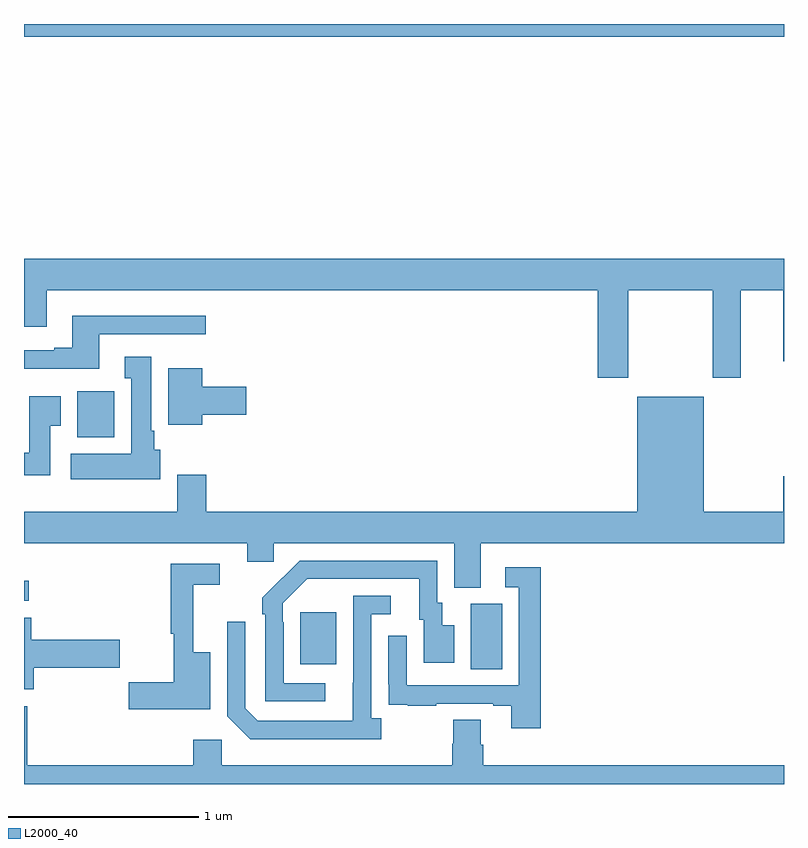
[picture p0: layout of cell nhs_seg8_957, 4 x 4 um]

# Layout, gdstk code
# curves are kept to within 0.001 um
import gdstk
lib = gdstk.Library(unit=1e-6, precision=1e-09)
def R(c, l, rs):  # rectangles x0, y0, x1, y1
    for r in rs: c.add(gdstk.rectangle(r[:2], r[2:], *l))
def P(c, l, *ps):  # polygons
    for p in ps: c.add(gdstk.Polygon(p, *l))
L2000_40 = (2000, 40)

nhs_seg8_957 = lib.new_cell('nhs_seg8_957')
R(nhs_seg8_957, L2000_40, [(175.352,1114.504,175.516,1114.848), (174.455,1114.529,174.643,1114.804), (173,1114.865,173.026,1114.969), (173.279,1115.726,173.476,1115.968), (173,1117.832,177,1117.9)])
P(nhs_seg8_957, L2000_40, [(176.181,1116.5),(176.626,1116.5),(176.626,1116.039),(176.773,1116.039),(176.773,1116.5),(176.996,1116.5),(176.996,1116.126),(177,1116.126),(177,1116.664),(173,1116.664),(173,1116.306),(173.119,1116.306),(173.119,1116.5),(176.021,1116.5),(176.021,1116.039),(176.181,1116.039)],
  [(173.395,1116.267),(173.956,1116.267),(173.956,1116.364),(173.255,1116.364),(173.255,1116.196),(173.159,1116.196),(173.159,1116.183),(173,1116.183),(173,1116.086),(173.395,1116.086)],
  [(173.716,1115.658),(173.686,1115.658),(173.686,1115.758),(173.671,1115.758),(173.671,1116.148),(173.531,1116.148),(173.531,1116.035),(173.564,1116.035),(173.564,1115.638),(173.247,1115.638),(173.247,1115.504),(173.716,1115.504)],
  [(173.938,1115.843),(174.169,1115.843),(174.169,1115.99),(173.938,1115.99),(173.938,1116.088),(173.759,1116.088),(173.759,1115.792),(173.938,1115.792)],
  [(173.137,1115.785),(173.194,1115.785),(173.194,1115.941),(173.027,1115.941),(173.027,1115.644),(173,1115.644),(173,1115.526),(173.137,1115.526)],
  [(173.96,1115.527),(173.807,1115.527),(173.807,1115.332),(173,1115.332),(173,1115.168),(174.176,1115.168),(174.176,1115.07),(174.315,1115.07),(174.315,1115.168),(175.265,1115.168),(175.265,1114.933),(175.405,1114.933),(175.405,1115.168),(177,1115.168),(177,1115.521),(176.996,1115.521),(176.996,1115.332),(176.578,1115.332),(176.578,1115.938),(176.228,1115.938),(176.228,1115.332),(173.96,1115.332)],
  [(174.586,1114.431),(174.366,1114.431),(174.366,1114.751),(174.363,1114.751),(174.363,1114.851),(174.492,1114.98),(175.079,1114.98),(175.079,1114.764),(175.103,1114.764),(175.103,1114.539),(175.264,1114.539),(175.264,1114.735),(175.201,1114.735),(175.201,1114.854),(175.176,1114.854),(175.176,1115.076),(174.452,1115.076),(174.255,1114.881),(174.255,1114.793),(174.27,1114.793),(174.27,1114.335),(174.586,1114.335)],
  [(173.98,1114.594),(173.891,1114.594),(173.891,1114.95),(174.031,1114.95),(174.031,1115.058),(173.773,1115.058),(173.773,1114.69),(173.788,1114.69),(173.788,1114.436),(173.55,1114.436),(173.55,1114.294),(173.98,1114.294)],
  [(175.721,1115.041),(175.533,1115.041),(175.533,1114.935),(175.605,1114.935),(175.605,1114.419),(175.014,1114.419),(175.014,1114.681),(174.918,1114.681),(174.918,1114.426),(174.919,1114.426),(174.919,1114.317),(175.021,1114.317),(175.021,1114.311),(175.169,1114.311),(175.169,1114.323),(175.469,1114.323),(175.469,1114.311),(175.565,1114.311),(175.565,1114.194),(175.721,1114.194)],
  [(174.88,1114.246),(174.828,1114.246),(174.828,1114.794),(174.931,1114.794),(174.931,1114.89),(174.732,1114.89),(174.731,1114.233),(174.231,1114.233),(174.165,1114.299),(174.165,1114.753),(174.069,1114.753),(174.069,1114.257),(174.19,1114.136),(174.88,1114.136)],
  [(173.051,1114.511),(173.503,1114.511),(173.503,1114.658),(173.038,1114.658),(173.038,1114.774),(173,1114.774),(173,1114.398),(173.051,1114.398)],
  [(177,1114),(175.418,1114),(175.418,1114.106),(175.405,1114.106),(175.405,1114.238),(175.258,1114.238),(175.258,1114.113),(175.253,1114.113),(175.253,1114),(174.042,1114),(174.042,1114.132),(173.891,1114.132),(173.891,1114),(173.018,1114),(173.018,1114.309),(173,1114.309),(173,1113.9),(177,1113.9)])

lib.write_gds('nhs_seg8_957.gds')
